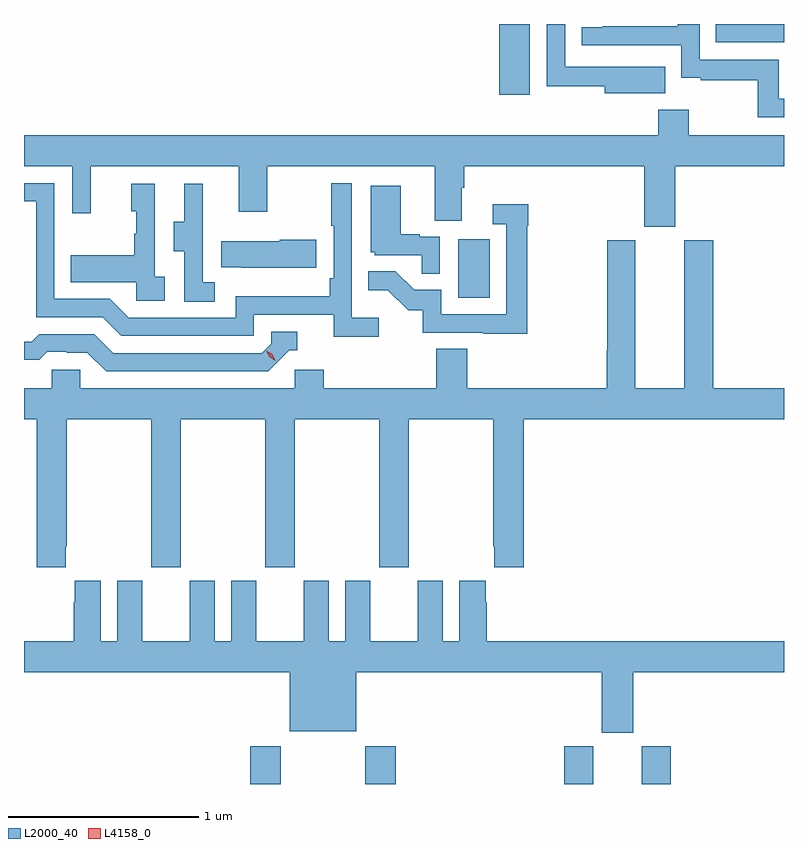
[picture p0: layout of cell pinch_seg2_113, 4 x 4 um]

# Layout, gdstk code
import gdstk
lib = gdstk.Library(unit=1e-6, precision=1e-09)
def R(c, l, rs):  # rectangles x0, y0, x1, y1
    for r in rs: c.add(gdstk.rectangle(r[:2], r[2:], *l))
def P(c, l, *ps):  # polygons
    for p in ps: c.add(gdstk.Polygon(p, *l))
L2000_40 = (2000, 40)
L4158_0 = (4158, 0)

pinch_seg2_113 = lib.new_cell('pinch_seg2_113')
R(pinch_seg2_113, L2000_40, [(1073.135,637.725,1073.295,637.924), (1073.74,637.725,1073.9,637.924), (1074.788,637.725,1074.94,637.923), (1075.196,637.725,1075.349,637.923), (1074.23,640.284,1074.394,640.591), (1074.446,641.352,1074.607,641.725), (1075.585,641.628,1075.944,641.724)])
P(pinch_seg2_113, L2000_40, [(1075.944,641.332),(1075.917,641.332),(1075.917,641.538),(1075.5,641.538),(1075.5,641.725),(1075.384,641.725),(1075.384,641.714),(1074.991,641.714),(1074.991,641.709),(1074.879,641.709),(1074.879,641.613),(1075.404,641.613),(1075.404,641.441),(1075.507,641.441),(1075.507,641.43),(1075.806,641.43),(1075.806,641.235),(1075.944,641.235)],
  [(1075.319,641.5),(1075.105,641.5),(1075.105,641.499),(1074.792,641.499),(1074.792,641.725),(1074.696,641.725),(1074.696,641.398),(1075.001,641.398),(1075.001,641.36),(1075.319,641.36)],
  [(1075.372,640.976),(1075.944,640.976),(1075.944,641.14),(1075.443,641.14),(1075.443,641.275),(1075.283,641.275),(1075.283,641.14),(1071.944,641.14),(1071.944,640.976),(1072.197,640.976),(1072.197,640.728),(1072.295,640.728),(1072.295,640.976),(1073.075,640.976),(1073.075,640.737),(1073.223,640.737),(1073.223,640.976),(1074.107,640.976),(1074.107,640.69),(1074.247,640.69),(1074.247,640.864),(1074.26,640.864),(1074.26,640.976),(1075.208,640.976),(1075.208,640.659),(1075.372,640.659)],
  [(1073.812,640.18),(1073.67,640.18),(1073.67,640.888),(1073.562,640.888),(1073.562,640.663),(1073.574,640.663),(1073.574,640.387),(1073.554,640.387),(1073.554,640.291),(1073.058,640.291),(1073.058,640.179),(1072.494,640.179),(1072.395,640.278),(1072.104,640.278),(1072.104,640.887),(1071.944,640.887),(1071.944,640.791),(1072.008,640.791),(1072.008,640.182),(1072.358,640.182),(1072.457,640.083),(1073.154,640.083),(1073.154,640.194),(1073.573,640.194),(1073.573,640.078),(1073.812,640.078)],
  [(1072.684,640.394),(1072.632,640.394),(1072.632,640.885),(1072.508,640.885),(1072.508,640.74),(1072.534,640.74),(1072.534,640.622),(1072.524,640.622),(1072.524,640.507),(1072.189,640.507),(1072.189,640.367),(1072.536,640.367),(1072.536,640.269),(1072.684,640.269)],
  [(1072.948,640.367),(1072.884,640.367),(1072.884,640.671),(1072.886,640.671),(1072.886,640.885),(1072.787,640.885),(1072.787,640.683),(1072.733,640.683),(1072.733,640.528),(1072.788,640.528),(1072.788,640.264),(1072.948,640.264)],
  [(1074.132,640.605),(1074.026,640.605),(1074.026,640.618),(1073.926,640.618),(1073.926,640.873),(1073.768,640.873),(1073.768,640.524),(1073.79,640.524),(1073.79,640.509),(1074.037,640.509),(1074.037,640.411),(1074.132,640.411)],
  [(1074.592,640.664),(1074.599,640.664),(1074.599,640.777),(1074.411,640.777),(1074.411,640.671),(1074.483,640.671),(1074.483,640.197),(1074.141,640.197),(1074.141,640.326),(1073.997,640.326),(1073.899,640.424),(1073.755,640.424),(1073.755,640.325),(1073.859,640.325),(1073.966,640.218),(1074.043,640.218),(1074.043,640.101),(1074.361,640.101),(1074.361,640.096),(1074.592,640.096)],
  [(1073.482,640.59),(1073.291,640.59),(1073.291,640.582),(1072.981,640.582),(1072.981,640.445),(1073.089,640.445),(1073.089,640.442),(1073.482,640.442)],
  [(1072.165,638.977),(1072.17,638.977),(1072.17,639.644),(1072.615,639.644),(1072.615,638.865),(1072.77,638.865),(1072.77,639.644),(1073.215,639.644),(1073.215,638.865),(1073.37,638.865),(1073.37,639.644),(1073.815,639.644),(1073.815,638.865),(1073.97,638.865),(1073.97,639.644),(1074.415,639.644),(1074.415,638.977),(1074.419,638.977),(1074.419,638.865),(1074.575,638.865),(1074.575,639.644),(1075.944,639.644),(1075.944,639.808),(1075.571,639.808),(1075.571,640.587),(1075.418,640.587),(1075.418,639.808),(1075.162,639.808),(1075.162,640.587),(1075.015,640.587),(1075.015,640.004),(1075.01,640.004),(1075.01,639.808),(1074.278,639.808),(1074.278,640.016),(1074.113,640.016),(1074.113,639.808),(1073.522,639.808),(1073.522,639.906),(1073.37,639.906),(1073.37,639.808),(1072.239,639.808),(1072.239,639.906),(1072.089,639.906),(1072.089,639.808),(1071.944,639.808),(1071.944,639.644),(1072.01,639.644),(1072.01,638.865),(1072.165,638.865)],
  [(1073.34,640.008),(1073.383,640.008),(1073.383,640.104),(1073.244,640.104),(1073.244,640.041),(1073.196,639.993),(1072.413,639.993),(1072.314,640.092),(1072.025,640.092),(1071.986,640.053),(1071.944,640.053),(1071.944,639.957),(1072.025,639.957),(1072.067,639.999),(1072.17,639.999),(1072.17,639.996),(1072.277,639.996),(1072.376,639.897),(1073.229,639.897)],
  [(1075.15,638.312),(1075.944,638.312),(1075.944,638.476),(1074.38,638.476),(1074.38,638.681),(1074.373,638.681),(1074.373,638.794),(1074.236,638.794),(1074.236,638.476),(1074.148,638.476),(1074.148,638.794),(1074.017,638.794),(1074.017,638.476),(1073.767,638.476),(1073.767,638.794),(1073.636,638.794),(1073.636,638.476),(1073.548,638.476),(1073.548,638.794),(1073.417,638.794),(1073.417,638.476),(1073.167,638.476),(1073.167,638.794),(1073.036,638.794),(1073.036,638.476),(1072.948,638.476),(1072.948,638.794),(1072.817,638.794),(1072.817,638.476),(1072.567,638.476),(1072.567,638.794),(1072.436,638.794),(1072.436,638.476),(1072.348,638.476),(1072.348,638.794),(1072.211,638.794),(1072.211,638.681),(1072.205,638.681),(1072.205,638.476),(1071.944,638.476),(1071.944,638.312),(1073.342,638.312),(1073.342,638.003),(1073.692,638.003),(1073.692,638.312),(1074.986,638.312),(1074.986,637.995),(1075.15,637.995)])
P(pinch_seg2_113, L4158_0, [(1073.265,639.954),(1073.235,639.973),(1073.219,640.006),(1073.219,640.006),(1073.22,640.006),(1073.25,639.986),(1073.266,639.954),(1073.266,639.954)])

lib.write_gds('pinch_seg2_113.gds')
